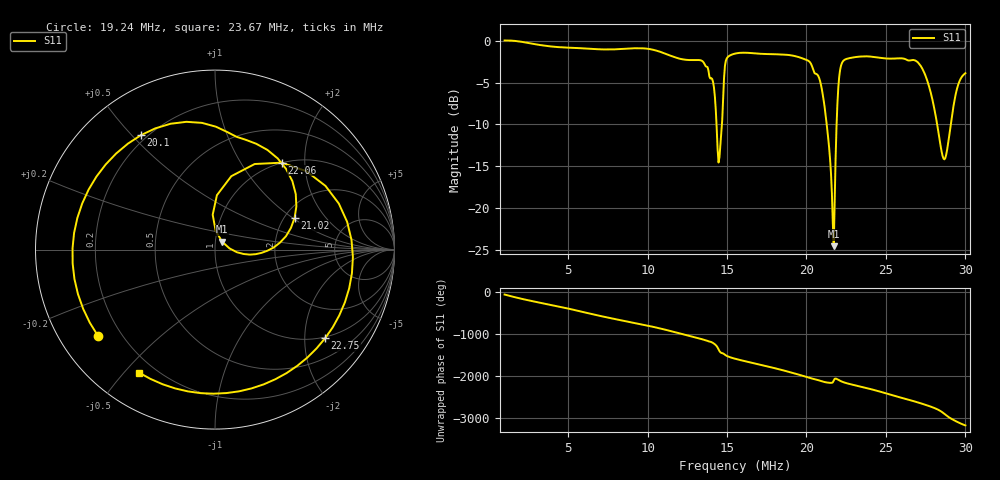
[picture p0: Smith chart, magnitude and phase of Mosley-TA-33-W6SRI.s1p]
# HZ S RI R 50
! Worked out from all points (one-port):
!   505 points, 1 MHz to 30 MHz, reference 50 ohm
!   lowest |S11| = -24.5 dB at 21.71 MHz (marker M1), VSWR 1.13, Z = 53.8 + j4.83 ohm
!   |S11| at or under -10 dB: 14.34 MHz to 14.68 MHz (340.7 kHz wide, 2.35 % of centre); 21.27 MHz to 21.89 MHz (622.7 kHz wide, 2.88 % of centre); 28.22 MHz to 29.08 MHz (856.7 kHz wide, 2.99 % of centre)
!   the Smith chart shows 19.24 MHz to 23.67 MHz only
!   S11 on the Smith chart (normalised r, x): 19.24 MHz: 0.12, -0.32; 20.1 MHz: 0.18, +0.53; 21.02 MHz: 2.27, +1.03; 22.06 MHz: 1.00, +1.54; 22.75 MHz: 0.96, -2.51; 23.67 MHz: 0.14, -0.55
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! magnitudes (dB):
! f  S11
! 1 MHz  0.0
! 4.625 MHz  -0.8
! 8.25 MHz  -1.0
! 11.88 MHz  -2.1
! 13.72 MHz  -3.1
! 14.12 MHz  -4.9
! 14.41 MHz  -13.0
! 14.52 MHz  -13.9
! 14.92 MHz  -2.4
! 15.5 MHz  -1.5
! 19.13 MHz  -1.8
! 19.24 MHz  -1.8
! 20.1 MHz  -2.4
! 21.02 MHz  -6.4
! 21.43 MHz  -12.8
! 21.6 MHz  -18.2
! 21.71 MHz  -24.5
! 21.77 MHz  -19.5
! 21.94 MHz  -7.6
! 22.06 MHz  -4.3
! 22.29 MHz  -2.5
! 22.75 MHz  -2.1
! 23.67 MHz  -1.9
! 26.38 MHz  -2.3
! 27.53 MHz  -4.4
! 28.68 MHz  -14.2
! 29.48 MHz  -5.7
! 30 MHz  -3.9
